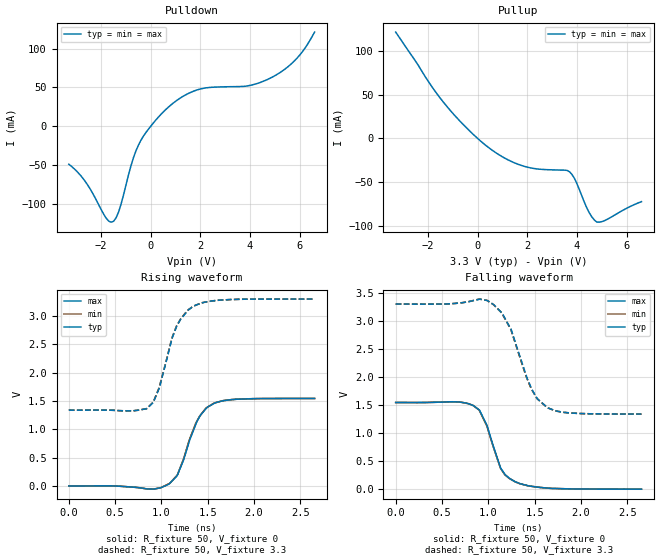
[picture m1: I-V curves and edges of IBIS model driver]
| IBIS file ex2_nomiller_tr10ps.ibs created by PYS2IBIS3
| Missouri S&T EMC Lab
[IBIS Ver] 7.1
[File Name] ex2_nomiller_tr10ps.ibs
[File Rev] 1.0
[Date] July 28, 2026
[Source] ex2 variant nomiller -- n4->out Miller caps removed
[Notes] Parameter selection; sim_time=2.653e-09, tr=tf=1.000e-11.
[Disclaimer] Experimental characterization for pybis observability study.
[Component] MCM Driver 1
[Manufacturer] MegaFLOPS Inc.
[Package]
| variable   typ   min   max
R_pkg 0 NA NA
L_pkg 0H NA NA
C_pkg 0F NA NA
[Pin]  signal_name   model_name   R_pin   L_pin   C_pin
vdd   vdd   POWER
gnd   gnd   GND
| in in dummy
out   out   driver
| End of Component
| Models and submodels in the file (1): driver (Output)
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[Model] driver
Model_type Output
Polarity Non-Inverting
Enable Active-Low
Vinl  = 0.8V
Vinh  = 2V
C_comp 5.0000pF 5.0000pF 5.0000pF
[Temperature Range] 27.0000 27.0000 27.0000
[Voltage Range] 3.3000V 3.3000V 3.3000V
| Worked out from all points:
|   slope of the pulldown table from 0 to 0.495 V, typ, clamps not added: 27.4 ohm
|   slope of the pullup table from 0 to 0.495 V, typ, clamps not added: 42.7 ohm
|   rising waveform, R_fixture 50, V_fixture 0: 20-80 % time 214ps typ, 215ps min, 215ps max; typ from 0 V to 1.54 V
|   rising waveform, R_fixture 50, V_fixture 3.3: 20-80 % time 218ps typ, 218ps min, 218ps max; typ from 1.34 V to 3.3 V
|   falling waveform, R_fixture 50, V_fixture 0: 20-80 % time 203ps typ, 203ps min, 203ps max; typ from 1.54 V to 0 V
|   falling waveform, R_fixture 50, V_fixture 3.3: 20-80 % time 261ps typ, 261ps min, 261ps max; typ from 3.3 V to 1.34 V
[Pulldown]
| Voltage   I(typ)   I(min)   I(max)
-3.3V     -48.93mA   -48.93mA   -48.93mA
-2.6V     -72.86mA   -72.86mA   -72.86mA
-1.8V     -118.2mA   -118.2mA   -118.2mA
-1.5V     -122.5mA   -122.5mA   -122.5mA
-1.3V     -110.9mA   -110.9mA   -110.9mA
-500mV    -24.59mA   -24.59mA   -24.59mA
600mV     21.34mA    21.34mA    21.34mA
1.9V      47.12mA    47.12mA    47.12mA
3.9V      51.99mA    51.99mA    51.99mA
4.9V      63.38mA    63.38mA    63.38mA
5.9V      87.99mA    87.99mA    87.99mA
6.6V      121.3mA    121.3mA    121.3mA
[Pullup]
| Voltage   I(typ)   I(min)   I(max)
-3.3V     122mA      122mA      122mA
-1.9V     61.75mA    61.75mA    61.75mA
-1.3V     38.86mA    38.86mA    38.86mA
-200mV    5.278mA    5.278mA    5.278mA
700mV     -15.75mA   -15.75mA   -15.75mA
2V        -32.92mA   -32.92mA   -32.92mA
3.7V      -38.24mA   -38.24mA   -38.24mA
3.9V      -45.89mA   -45.89mA   -45.89mA
4.5V      -85.43mA   -85.43mA   -85.43mA
4.8V      -95.97mA   -95.97mA   -95.97mA
5.1V      -94.48mA   -94.48mA   -94.48mA
6.6V      -72.53mA   -72.53mA   -72.53mA
[Ramp]
| variable   typ   min   max
dV/dt_r 0.9270/0.2142n 0.9270/0.2154n 0.9270/0.2154n
dV/dt_f 1.1766/0.2609n  1.1766/0.26n  1.1766/0.26n
R_load = 50
[Rising Waveform]
R_fixture = 50
V_fixture = 0
|time   V(typ)   V(min)   V(max)
0s        7.302nV    7.302nV    7.302nV
993.1ps   -32.25mV   -30.47mV   -30.47mV
1.086ns   40.26mV    41.37mV    41.37mV
1.166ns   170mV      177.9mV    177.9mV
1.237ns   453.1mV    470.2mV    470.2mV
1.378ns   1.126V     1.131V     1.131V
1.479ns   1.361V     1.372V     1.372V
1.564ns   1.454V     1.46V      1.46V
1.814ns   1.532V     1.531V     1.531V
2.653ns   1.545V     1.545V     1.545V
[Rising Waveform]
R_fixture = 50
V_fixture = 3.3
|time   V(typ)   V(min)   V(max)
0s        1.338V     1.338V     1.338V
844.4ps   1.373V     1.37V      1.37V
910.8ps   1.472V     1.48V      1.48V
974.5ps   1.72V      1.733V     1.733V
1.113ns   2.597V     2.61V      2.61V
1.163ns   2.816V     2.824V     2.824V
1.277ns   3.084V     3.093V     3.093V
1.338ns   3.167V     3.171V     3.171V
1.641ns   3.283V     3.283V     3.283V
2.653ns   3.3V       3.3V       3.3V
[Falling Waveform]
R_fixture = 50
V_fixture = 0
|time   V(typ)   V(min)   V(max)
0s        1.545V     1.545V     1.545V
679.8ps   1.555V     1.555V     1.555V
836.4ps   1.493V     1.49V      1.49V
905.5ps   1.407V     1.396V     1.396V
985.1ps   1.136V     1.124V     1.124V
1.129ns   392.8mV    381.2mV    381.2mV
1.221ns   200.4mV    197.1mV    197.1mV
1.336ns   101.4mV    99.72mV    99.72mV
1.66ns    14.99mV    14.9mV     14.9mV
2.653ns   78.55uV    77.7uV     77.7uV
[Falling Waveform]
R_fixture = 50
V_fixture = 3.3
|time   V(typ)   V(min)   V(max)
0s        3.3V       3.3V       3.3V
987.8ps   3.365V     3.362V     3.362V
1.152ns   3.127V     3.117V     3.117V
1.248ns   2.837V     2.822V     2.822V
1.405ns   2.038V     2.023V     2.023V
1.46ns    1.812V     1.8V       1.8V
1.529ns   1.61V      1.609V     1.609V
1.63ns    1.465V     1.458V     1.458V
1.909ns   1.355V     1.355V     1.355V
2.653ns   1.339V     1.339V     1.339V
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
